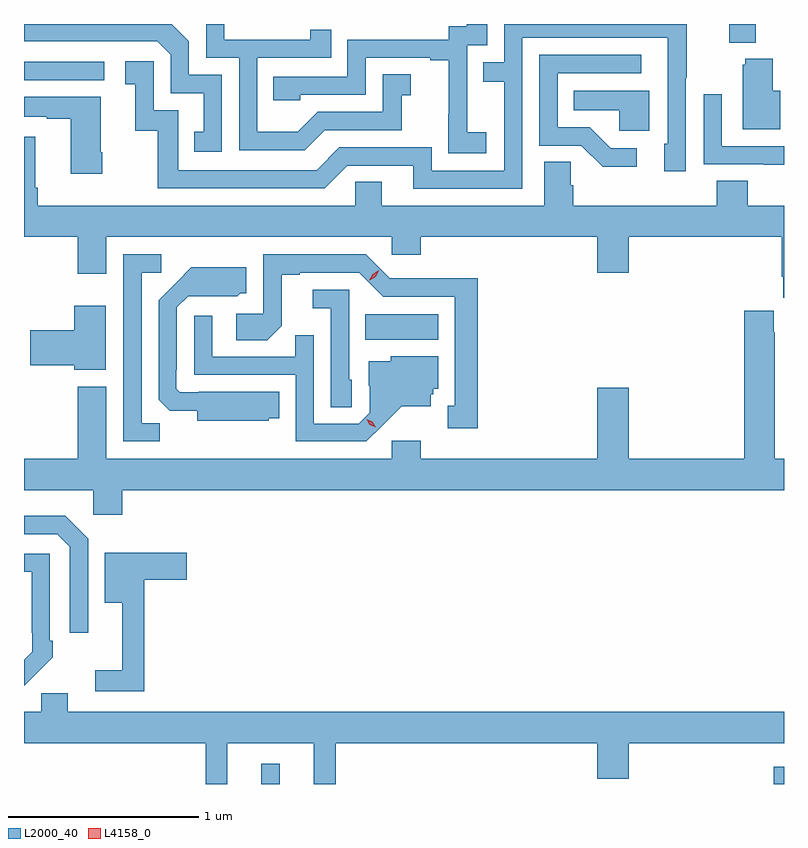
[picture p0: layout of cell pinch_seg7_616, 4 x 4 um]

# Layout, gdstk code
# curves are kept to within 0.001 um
import gdstk
lib = gdstk.Library(unit=1e-6, precision=1e-09)
def R(c, l, rs):  # rectangles x0, y0, x1, y1
    for r in rs: c.add(gdstk.rectangle(r[:2], r[2:], *l))
def P(c, l, *ps):  # polygons
    for p in ps: c.add(gdstk.Polygon(p, *l))
L2000_40 = (2000, 40)
L4158_0 = (4158, 0)

pinch_seg7_616 = lib.new_cell('pinch_seg7_616')
R(pinch_seg7_616, L2000_40, [(139.263,1011.057,139.36,1011.163), (141.96,1011.057,142.014,1011.148), (139.81,1013.396,140.194,1013.53), (138.014,1014.762,138.436,1014.858), (141.725,1014.959,141.865,1015.057)])
P(pinch_seg7_616, L2000_40, [(140.637,1014.984),(141.401,1014.984),(141.402,1014.426),(141.383,1014.426),(141.383,1014.282),(141.498,1014.282),(141.498,1014.775),(141.501,1014.775),(141.501,1015.057),(140.541,1015.057),(140.541,1014.855),(140.431,1014.855),(140.431,1014.754),(140.541,1014.754),(140.541,1014.285),(140.16,1014.285),(140.16,1014.408),(139.674,1014.408),(139.554,1014.288),(138.825,1014.288),(138.825,1014.603),(138.696,1014.603),(138.696,1014.862),(138.546,1014.862),(138.546,1014.741),(138.599,1014.741),(138.599,1014.495),(138.717,1014.495),(138.717,1014.192),(139.596,1014.192),(139.716,1014.312),(140.063,1014.312),(140.063,1014.189),(140.637,1014.189)],
  [(139.597,1014.498),(140.001,1014.498),(140.001,1014.683),(140.05,1014.683),(140.05,1014.793),(139.902,1014.793),(139.902,1014.594),(139.56,1014.594),(139.456,1014.49),(139.242,1014.49),(139.242,1014.879),(139.631,1014.879),(139.631,1015.027),(139.52,1015.027),(139.52,1014.975),(139.069,1014.975),(139.069,1015.057),(138.972,1015.057),(138.972,1014.879),(139.146,1014.879),(139.146,1014.393),(139.492,1014.393)],
  [(139.056,1014.789),(138.882,1014.789),(138.882,1014.966),(138.791,1015.057),(138.014,1015.057),(138.014,1014.966),(138.714,1014.966),(138.786,1014.894),(138.786,1014.693),(138.959,1014.693),(138.959,1014.489),(138.91,1014.489),(138.91,1014.384),(139.056,1014.384)],
  [(140.446,1014.487),(140.348,1014.487),(140.348,1014.716),(140.346,1014.716),(140.346,1014.945),(140.451,1014.945),(140.451,1015.057),(140.343,1015.057),(140.343,1015.044),(140.25,1015.044),(140.25,1014.975),(139.716,1014.975),(139.716,1014.78),(139.327,1014.78),(139.327,1014.657),(139.467,1014.657),(139.467,1014.684),(139.812,1014.684),(139.812,1014.879),(140.153,1014.879),(140.153,1014.867),(140.249,1014.867),(140.249,1014.583),(140.248,1014.583),(140.248,1014.377),(140.446,1014.377)],
  [(141.238,1014.402),(141.103,1014.402),(140.992,1014.513),(140.823,1014.513),(140.823,1014.798),(141.262,1014.798),(141.262,1014.894),(140.727,1014.894),(140.727,1014.417),(140.946,1014.417),(141.059,1014.305),(141.238,1014.305)],
  [(141.994,1014.706),(141.955,1014.706),(141.955,1014.874),(141.809,1014.874),(141.809,1014.843),(141.797,1014.843),(141.797,1014.503),(141.994,1014.503)],
  [(141.304,1014.706),(140.908,1014.706),(140.908,1014.602),(141.147,1014.602),(141.147,1014.494),(141.304,1014.494)],
  [(142.014,1014.414),(141.687,1014.414),(141.687,1014.688),(141.591,1014.688),(141.591,1014.318),(141.907,1014.318),(141.907,1014.317),(142.014,1014.317)],
  [(138.426,1014.382),(138.418,1014.382),(138.418,1014.673),(138.014,1014.673),(138.014,1014.569),(138.134,1014.569),(138.134,1014.559),(138.26,1014.559),(138.26,1014.27),(138.426,1014.27)],
  [(142.014,1014.1),(141.824,1014.1),(141.824,1014.233),(141.659,1014.233),(141.659,1014.1),(140.906,1014.1),(140.906,1014.209),(140.892,1014.209),(140.892,1014.332),(140.753,1014.332),(140.753,1014.1),(139.897,1014.1),(139.897,1014.227),(139.758,1014.227),(139.758,1014.1),(138.086,1014.1),(138.086,1014.196),(138.073,1014.196),(138.073,1014.463),(138.014,1014.463),(138.014,1013.936),(138.296,1013.936),(138.296,1013.742),(138.448,1013.742),(138.448,1013.936),(139.95,1013.936),(139.95,1013.843),(140.102,1013.843),(140.102,1013.936),(141.032,1013.936),(141.032,1013.748),(141.196,1013.748),(141.196,1013.936),(142.001,1013.936),(142.001,1013.728),(142.01,1013.728),(142.01,1013.616),(142.014,1013.616)],
  [(140.401,1013.72),(140.16,1013.72),(140.16,1013.718),(139.938,1013.718),(139.812,1013.844),(139.272,1013.844),(139.272,1013.532),(139.131,1013.532),(139.131,1013.392),(139.295,1013.392),(139.371,1013.468),(139.371,1013.736),(139.465,1013.736),(139.465,1013.748),(139.779,1013.748),(139.905,1013.622),(140.282,1013.622),(140.282,1013.049),(140.243,1013.049),(140.243,1012.929),(140.401,1012.929)],
  [(138.729,1012.955),(138.633,1012.955),(138.633,1013.748),(138.736,1013.748),(138.736,1013.844),(138.537,1013.844),(138.537,1012.86),(138.729,1012.86)],
  [(139.302,1012.982),(139.358,1012.982),(139.358,1013.122),(138.934,1013.122),(138.934,1013.118),(138.834,1013.118),(138.816,1013.136),(138.816,1013.236),(138.819,1013.236),(138.819,1013.565),(138.879,1013.625),(139.136,1013.624),(139.152,1013.64),(139.183,1013.64),(139.183,1013.776),(138.895,1013.776),(138.723,1013.602),(138.723,1013.08),(138.782,1013.021),(138.926,1013.021),(138.926,1012.97),(139.302,1012.97)],
  [(139.74,1013.184),(139.725,1013.184),(139.725,1013.658),(139.533,1013.658),(139.533,1013.561),(139.629,1013.561),(139.629,1013.041),(139.74,1013.041)],
  [(138.445,1013.575),(138.278,1013.575),(138.278,1013.444),(138.048,1013.444),(138.048,1013.261),(138.278,1013.261),(138.278,1013.237),(138.445,1013.237)],
  [(142.014,1012.768),(141.966,1012.768),(141.966,1013.435),(141.959,1013.435),(141.959,1013.548),(141.806,1013.548),(141.806,1012.768),(141.196,1012.768),(141.196,1013.143),(141.032,1013.143),(141.032,1012.768),(140.102,1012.768),(140.102,1012.864),(139.95,1012.864),(139.95,1012.768),(138.448,1012.768),(138.448,1013.149),(138.296,1013.149),(138.296,1012.768),(138.014,1012.768),(138.014,1012.604),(138.378,1012.604),(138.378,1012.473),(138.53,1012.473),(138.53,1012.604),(142.014,1012.604)],
  [(139.9,1012.943),(140.003,1013.045),(140.155,1013.045),(140.155,1013.109),(140.169,1013.109),(140.169,1013.136),(140.194,1013.136),(140.194,1013.308),(139.944,1013.308),(139.944,1013.281),(139.829,1013.281),(139.829,1013.152),(139.833,1013.152),(139.833,1013.01),(139.776,1012.953),(139.539,1012.953),(139.539,1013.42),(139.441,1013.42),(139.441,1013.307),(139.005,1013.307),(139.005,1013.521),(138.909,1013.521),(138.909,1013.211),(139.443,1013.211),(139.443,1012.86),(139.816,1012.86)],
  [(138.351,1012.347),(138.23,1012.468),(138.014,1012.468),(138.014,1012.371),(138.189,1012.371),(138.255,1012.305),(138.255,1011.852),(138.351,1011.852)],
  [(138.647,1012.133),(138.871,1012.133),(138.871,1012.275),(138.44,1012.275),(138.44,1012.01),(138.53,1012.01),(138.53,1011.655),(138.39,1011.655),(138.39,1011.546),(138.647,1011.546)],
  [(138.059,1011.619),(138.06,1011.618),(138.165,1011.723),(138.165,1011.811),(138.15,1011.811),(138.15,1012.269),(138.014,1012.269),(138.014,1012.173),(138.054,1012.173),(138.054,1011.853),(138.057,1011.853),(138.057,1011.753),(138.014,1011.71),(138.014,1011.574)],
  [(139.085,1011.272),(139.538,1011.272),(139.538,1011.057),(139.655,1011.057),(139.655,1011.272),(141.032,1011.272),(141.032,1011.084),(141.196,1011.084),(141.196,1011.272),(142.014,1011.272),(142.014,1011.436),(138.244,1011.436),(138.244,1011.534),(138.105,1011.534),(138.105,1011.436),(138.014,1011.436),(138.014,1011.272),(138.971,1011.272),(138.971,1011.057),(139.085,1011.057)])
P(pinch_seg7_616, L4158_0, [(139.832,1013.708),(139.832,1013.708),(139.85,1013.741),(139.882,1013.76),(139.882,1013.76),(139.882,1013.759),(139.864,1013.727),(139.833,1013.708)],
  [(139.866,1012.934),(139.835,1012.948),(139.817,1012.977),(139.817,1012.977),(139.817,1012.977),(139.848,1012.963),(139.866,1012.934),(139.866,1012.934)])

lib.write_gds('pinch_seg7_616.gds')
